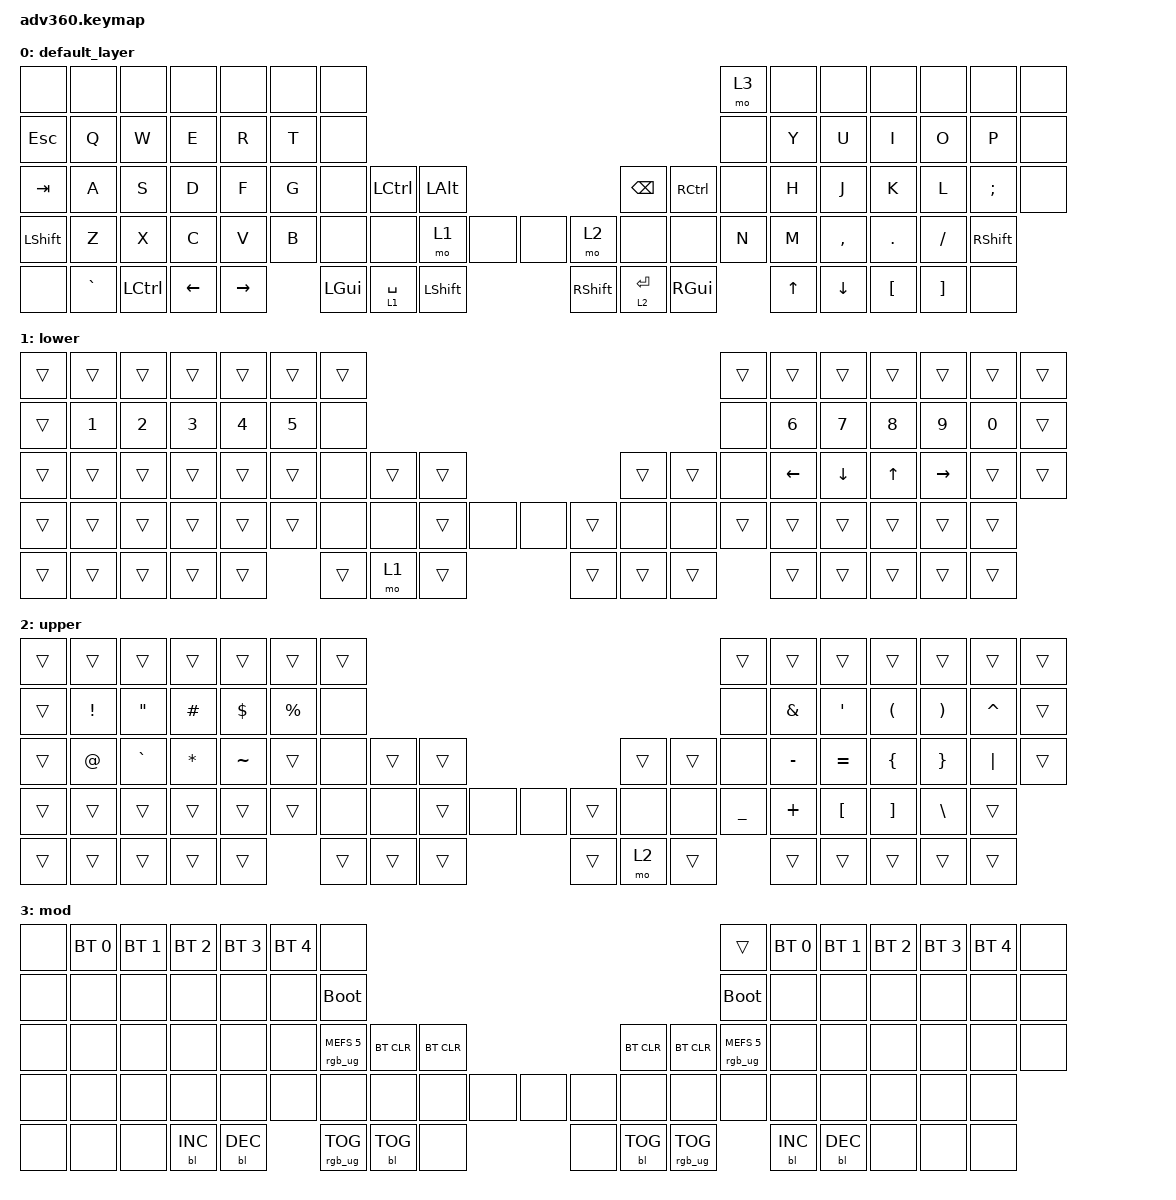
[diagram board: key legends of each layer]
#include <behaviors.dtsi>
#include <dt-bindings/zmk/keys.h>
#include <dt-bindings/zmk/bt.h>
#include <dt-bindings/zmk/rgb.h>
#include <dt-bindings/zmk/backlight.h>

/ {
    behaviors {
      #include "macros.dtsi"

      hm: homerow_mods {
          compatible = "zmk,behavior-hold-tap";
          label = "HOMEROW_MODS";
          #binding-cells = <2>;
          tapping-term-ms = <2>;
          quick_tap_ms = <175>;
          flavor = "tap-preferred";
          bindings = <&kp>, <&kp>;
      };
    };

  keymap {
    compatible = "zmk,keymap";

    default_layer {
      bindings = <
        &none     &none     &none     &none    &none      &none  &none                                                                           &mo 3 &none  &none  &none     &none    &none    &none
        &kp ESC   &kp Q     &kp W     &kp E    &kp R      &kp T  &none                                                                           &none &kp Y  &kp U  &kp I     &kp O    &kp P    &none
        &kp TAB   &kp A     &kp S     &kp D    &kp F      &kp G  &none          &kp LCTRL   &kp LALT              &kp BSPC  &kp RCTRL            &none &kp H  &kp J  &kp K     &kp L    &kp SEMI &none
        &kp LSHFT &kp Z     &kp X     &kp C    &kp V      &kp B        &none    &none       &mo 1     &none &none &mo 2     &none       &none          &kp N  &kp M  &kp COMMA &kp DOT  &kp FSLH &kp RSHFT
        &none     &kp GRAVE &kp LCTRL &kp LEFT &kp RIGHT               &kp LGUI &lt 1 SPACE &kp LSHFT             &kp RSHFT &lt 2 ENTER &kp RGUI              &kp UP &kp DOWN  &kp LBKT &kp RBKT &none
      >;
    };
    lower {
      bindings = <
        &trans    &trans    &trans   &trans   &trans     &trans &trans                                                                      &trans &trans   &trans   &trans &trans    &trans   &trans
        &trans    &kp N1    &kp N2   &kp N3   &kp N4     &kp N5 &none                                                                       &none  &kp N6   &kp N7   &kp N8 &kp N9    &kp N0   &trans
        &trans    &trans    &trans   &trans   &trans     &trans &none           &trans    &trans              &trans    &trans              &none  &kp LEFT &kp DOWN &kp UP &kp RIGHT &trans   &trans
        &trans    &trans    &trans   &trans   &trans     &trans        &none    &none     &trans  &none &none &trans    &none     &none            &trans   &trans   &trans &trans    &trans   &trans
        &trans    &trans    &trans   &trans   &trans                   &trans   &mo 1     &trans              &trans    &trans    &trans                    &trans   &trans &trans    &trans   &trans
      >;
    };
    upper {
      bindings = <
        &trans    &trans    &trans    &trans    &trans    &trans    &trans                                                                      &trans &trans    &trans    &trans   &trans   &trans    &trans
        &trans    &kp EXCL  &kp DQT   &kp HASH  &kp DLLR  &kp PRCNT &none                                                                       &none  &kp AMPS  &kp SQT   &kp LPAR &kp RPAR &kp CARET &trans
        &trans    &kp AT    &kp GRAVE &kp ASTRK &kp TILDE &trans    &none           &trans    &trans              &trans    &trans              &none  &kp MINUS &kp EQUAL &kp LBRC &kp RBRC &kp PIPE  &trans
        &trans    &trans    &trans    &trans    &trans    &trans           &none    &none     &trans  &none &none &trans    &none     &none            &kp UNDER &kp PLUS  &kp LBKT &kp RBKT &kp BSLH  &trans
        &trans    &trans    &trans    &trans    &trans                     &trans   &trans    &trans              &trans    &mo 2     &trans                     &trans    &trans   &trans   &trans    &trans
      >;
    };
    mod {
      bindings = <
        &none &bt BT_SEL 0 &bt BT_SEL 1 &bt BT_SEL 2 &bt BT_SEL 3 &bt BT_SEL 4 &none                                                                                                          &trans                 &bt BT_SEL 0 &bt BT_SEL 1 &bt BT_SEL 2 &bt BT_SEL 3 &bt BT_SEL 4 &none
        &none &none        &none        &none        &none        &none        &bootloader                                                                                                    &bootloader            &none        &none        &none        &none        &none        &none
        &none &none        &none        &none        &none        &none        &rgb_ug RGB_MEFS_CMD 5                 &bt BT_CLR &bt BT_CLR             &bt BT_CLR &bt BT_CLR                 &rgb_ug RGB_MEFS_CMD 5 &none        &none        &none        &none        &none        &none
        &none &none        &none        &none        &none        &none                               &none           &none      &none      &none &none &none      &none      &none                                  &none        &none        &none        &none        &none        &none
        &none &none        &none        &bl BL_INC   &bl BL_DEC                                       &rgb_ug RGB_TOG &bl BL_TOG &none                  &none      &bl BL_TOG &rgb_ug RGB_TOG                                     &bl BL_INC   &bl BL_DEC   &none        &none        &none
      >;
    };
  };
};
